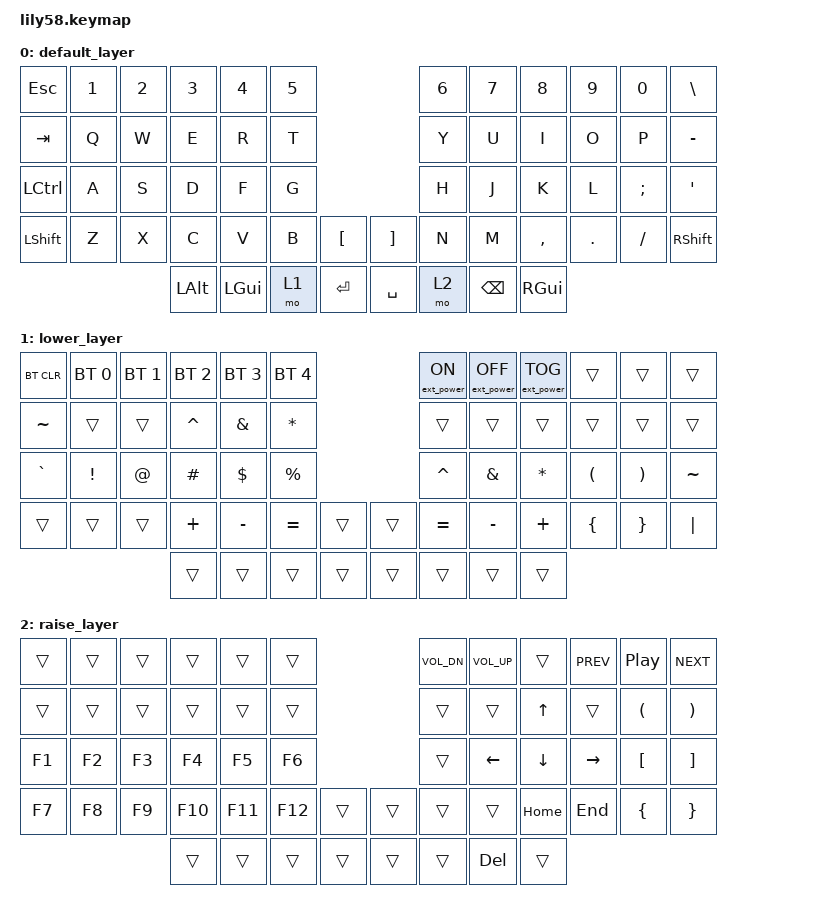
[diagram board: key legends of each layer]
/*
 * Copyright (c) 2020 The ZMK Contributors
 *
 * SPDX-License-Identifier: MIT
 */

#include <behaviors.dtsi>
#include <dt-bindings/zmk/bt.h>
#include <dt-bindings/zmk/ext_power.h>
#include <dt-bindings/zmk/keys.h>

/ {
    keymap {
        compatible = "zmk,keymap";

        default_layer {
            // ------------------------------------------------------------------------------------------------------------
            // |  ESC  |  1  |  2  |  3   |  4   |  5   |                   |  6   |  7    |  8    |  9   |   0   |   `   |
            // |  TAB  |  Q  |  W  |  E   |  R   |  T   |                   |  Y   |  U    |  I    |  O   |   P   |   -   |
            // |  CTRL |  A  |  S  |  D   |  F   |  G   |                   |  H   |  J    |  K    |  L   |   ;   |   '   |
            // | SHIFT |  Z  |  X  |  C   |  V   |  B   |   "["  |  |  "]"  |  N   |  M    |  ,    |  .   |   /   | SHIFT |
            //                     | ALT  | GUI  | LOWER|  SPACE |  | ENTER | RAISE| BSPC  | GUI   |

            bindings = <
&kp ESC    &kp N1  &kp N2  &kp N3    &kp N4    &kp N5                         &kp N6  &kp N7    &kp N8     &kp N9   &kp N0    &kp BACKSLASH
&kp TAB    &kp Q   &kp W   &kp E     &kp R     &kp T                          &kp Y   &kp U     &kp I      &kp O    &kp P     &kp MINUS
&kp LCTRL  &kp A   &kp S   &kp D     &kp F     &kp G                          &kp H   &kp J     &kp K      &kp L    &kp SEMI  &kp SQT
&kp LSHFT  &kp Z   &kp X   &kp C     &kp V     &kp B   &kp LBKT    &kp RBKT   &kp N   &kp M     &kp COMMA  &kp DOT  &kp FSLH  &kp RSHFT
                           &kp LALT  &kp LGUI  &mo 1   &kp RET     &kp SPACE  &mo 2   &kp BSPC  &kp RGUI
            >;
        };

        lower_layer {
            // ------------------------------------------------------------------------------------------------------------
            // | BTCLR | BT1 | BT2 |  BT3 |  BT4 |  BT5 |                   |      |       |       |      |       |       |
            // |  F1   |  F2 |  F3 |  F4  |  F5  |  F6  |                   |  F7  |  F8   |  F9   |  F10 |  F11  |  F12  |
            // |   `   |  !  |  @  |  #   |  $   |  %   |                   |  ^   |  &    |  *    |  (   |   )   |   ~   |
            // |       |     |     |      |      |      |        |  |       |      |  _    |  +    |  {   |   }   |  "|"  |
            //                     |      |      |      |        |  |       |      |       |       |

            bindings = <
&bt BT_CLR  &bt BT_SEL 0  &bt BT_SEL 1  &bt BT_SEL 2  &bt BT_SEL 3  &bt BT_SEL 4                    &ext_power EP_ON  &ext_power EP_OFF  &ext_power EP_TOG  &trans    &trans    &trans
&kp TILDE   &trans        &trans        &kp CARET     &kp AMPS      &kp ASTERISK                    &trans            &trans             &trans             &trans    &trans    &trans
&kp GRAVE   &kp EXCL      &kp AT        &kp HASH      &kp DOLLAR    &kp PRCNT                       &kp CARET         &kp AMPS           &kp ASTRK          &kp LPAR  &kp RPAR  &kp TILDE
&trans      &trans        &trans        &kp PLUS      &kp MINUS     &kp EQUAL     &trans    &trans  &kp EQUAL         &kp MINUS          &kp PLUS           &kp LBRC  &kp RBRC  &kp PIPE
                                        &trans        &trans        &trans        &trans    &trans  &trans            &trans             &trans
            >;
        };

        raise_layer {
            // ------------------------------------------------------------------------------------------------------------
            // |       |     |     |      |      |      |                   |      |       |       |      |       |       |
            // |   `   |  1  |  2  |  3   |  4   |  5   |                   |  6   |   7   |   8   |  9   |   0   |       |
            // |   F1  |  F2 |  F3 |  F4  |  F5  |  F6  |                   |      |   <-  |   v   |  ^   |  ->   |       |
            // |   F7  |  F8 |  F9 |  F10 |  F11 |  F12 |        |  |       |  +   |   -   |   =   |  [   |   ]   |   \   |
            //                     |      |      |      |        |  |       |      |       |       |

            bindings = <
&trans  &trans  &trans  &trans   &trans   &trans                     &kp C_VOL_DN  &kp C_VOL_UP  &trans        &kp C_PREV  &kp C_PLAY_PAUSE      &kp C_NEXT
&trans  &trans  &trans  &trans   &trans   &trans                     &trans        &trans        &kp UP_ARROW  &trans      &kp LEFT_PARENTHESIS  &kp RIGHT_PARENTHESIS
&kp F1  &kp F2  &kp F3  &kp F4   &kp F5   &kp F6                     &trans        &kp LEFT      &kp DOWN      &kp RIGHT   &kp LEFT_BRACKET      &kp RIGHT_BRACKET
&kp F7  &kp F8  &kp F9  &kp F10  &kp F11  &kp F12  &trans    &trans  &trans        &trans        &kp HOME      &kp END     &kp LEFT_BRACE        &kp RIGHT_BRACE
                        &trans   &trans   &trans   &trans    &trans  &trans        &kp DEL       &trans
            >;
        };
    };
};
